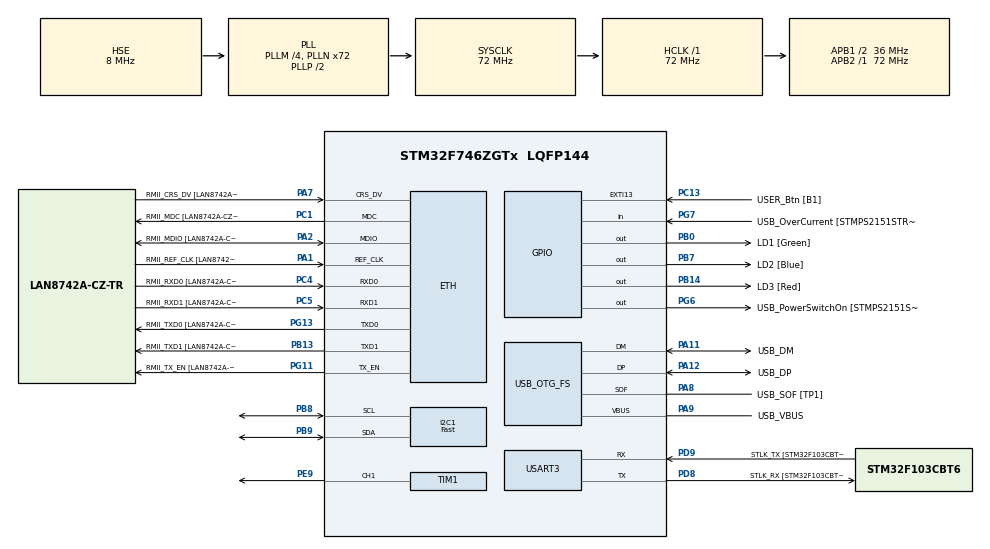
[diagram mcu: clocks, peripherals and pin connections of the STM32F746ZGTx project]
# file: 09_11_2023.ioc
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ETH.MediaInterface=HAL_ETH_RMII_MODE
ETH.PHY_Name=LAN8742A_PHY_ADDRESS
ETH.PHY_Value=0
ETH.PhyAddress=0
I2C1.I2C_Speed_Mode=I2C_Fast
I2C1.Speed=100
I2C1.Timing=0x00305FFF
Mcu.Family=STM32F7
Mcu.Name=STM32F746ZGTx
Mcu.Package=LQFP144
NVIC.PriorityGroup=NVIC_PRIORITYGROUP_4
NVIC.TIM2_IRQn=true\:0\:0\:false\:false\:true\:true\:true\:true
NVIC.TIM3_IRQn=true\:0\:0\:false\:false\:true\:true\:true\:true
NVIC.USART3_IRQn=true\:0\:0\:false\:false\:true\:true\:true\:true
PA1.GPIO_Label=RMII_REF_CLK [LAN8742A-CZ-TR_REFCLK0]
PA1.Mode=RMII
PA1.Signal=ETH_REF_CLK
PA10.GPIO_Label=USB_ID
PA10.Signal=USB_OTG_FS_ID
PA11.GPIO_Label=USB_DM
PA11.Mode=Device_Only
PA11.Signal=USB_OTG_FS_DM
PA12.GPIO_Label=USB_DP
PA12.Mode=Device_Only
PA12.Signal=USB_OTG_FS_DP
PA13.GPIO_Label=TMS
PA13.Mode=Serial_Wire
PA13.Signal=SYS_JTMS-SWDIO
PA14.GPIO_Label=TCK
PA14.Mode=Serial_Wire
PA14.Signal=SYS_JTCK-SWCLK
PA2.GPIO_Label=RMII_MDIO [LAN8742A-CZ-TR_MDIO]
PA2.Mode=RMII
PA2.Signal=ETH_MDIO
PA7.GPIO_Label=RMII_CRS_DV [LAN8742A-CZ-TR_CRS_DV]
PA7.Mode=RMII
PA7.Signal=ETH_CRS_DV
PA8.GPIO_Label=USB_SOF [TP1]
PA8.Mode=Activate_SOF_FS
PA8.Signal=USB_OTG_FS_SOF
PA9.GPIO_Label=USB_VBUS
PA9.Mode=Activate_VBUS
PA9.Signal=USB_OTG_FS_VBUS
PB0.GPIO_Label=LD1 [Green]
PB0.Signal=GPIO_Output
PB13.GPIO_Label=RMII_TXD1 [LAN8742A-CZ-TR_TXD1]
PB13.Mode=RMII
PB13.Signal=ETH_TXD1
PB14.GPIO_Label=LD3 [Red]
PB14.Signal=GPIO_Output
PB3.GPIO_Label=SW0
PB3.Signal=SYS_JTDO-SWO
PB7.GPIO_Label=LD2 [Blue]
PB7.Signal=GPIO_Output
PB8.GPIO_Pu=GPIO_PULLUP
PB8.Mode=I2C
PB8.Signal=I2C1_SCL
PB9.GPIO_Pu=GPIO_PULLUP
PB9.Mode=I2C
PB9.Signal=I2C1_SDA
PC1.GPIO_Label=RMII_MDC [LAN8742A-CZ-TR_MDC]
PC1.Mode=RMII
PC1.Signal=ETH_MDC
PC13.GPIO_Label=USER_Btn [B1]
PC13.Signal=GPXTI13
PC14/OSC32_IN.Mode=LSE-External-Oscillator
PC14/OSC32_IN.Signal=RCC_OSC32_IN
PC15/OSC32_OUT.Mode=LSE-External-Oscillator
PC15/OSC32_OUT.Signal=RCC_OSC32_OUT
PC4.GPIO_Label=RMII_RXD0 [LAN8742A-CZ-TR_RXD0]
PC4.Mode=RMII
PC4.Signal=ETH_RXD0
PC5.GPIO_Label=RMII_RXD1 [LAN8742A-CZ-TR_RXD1]
PC5.Mode=RMII
PC5.Signal=ETH_RXD1
PD8.GPIO_Label=STLK_RX [STM32F103CBT6_PA3]
PD8.GPIO_PuPd=GPIO_PULLUP
PD8.Mode=Asynchronous
PD8.Signal=USART3_TX
PD9.GPIO_Label=STLK_TX [STM32F103CBT6_PA2]
PD9.GPIO_PuPd=GPIO_PULLUP
PD9.Mode=Asynchronous
PD9.Signal=USART3_RX
PE9.Signal=S_TIM1_CH1
PG11.GPIO_Label=RMII_TX_EN [LAN8742A-CZ-TR_TXEN]
PG11.Mode=RMII
PG11.Signal=ETH_TX_EN
PG13.GPIO_Label=RMII_TXD0 [LAN8742A-CZ-TR_TXD0]
PG13.Mode=RMII
PG13.Signal=ETH_TXD0
PG6.GPIO_Label=USB_PowerSwitchOn [STMPS2151STR_EN]
PG6.Signal=GPIO_Output
PG7.GPIO_Label=USB_OverCurrent [STMPS2151STR_FAULT]
PG7.Signal=GPIO_Input
PH0/OSC_IN.GPIO_Label=MCO [STM32F103CBT6_PA8]
PH0/OSC_IN.Mode=HSE-External-Clock-Source
PH0/OSC_IN.Signal=RCC_OSC_IN
PH1/OSC_OUT.Mode=HSE-External-Clock-Source
PH1/OSC_OUT.Signal=RCC_OSC_OUT
ProjectManager.HeapSize=0x200
ProjectManager.StackSize=0x400
ProjectManager.TargetToolchain=STM32CubeIDE
RCC.48MHZClocksFreq_Value=24000000
RCC.AHBFreq_Value=72000000
RCC.APB1CLKDivider=RCC_HCLK_DIV2
RCC.APB1Freq_Value=36000000
RCC.APB1TimFreq_Value=72000000
RCC.APB2Freq_Value=72000000
RCC.APB2TimFreq_Value=72000000
RCC.CortexFreq_Value=72000000
RCC.HCLKFreq_Value=72000000
RCC.HSE_VALUE=8000000
RCC.HSI_VALUE=16000000
RCC.PLLM=4
RCC.PLLMUL=RCC_PLL_MUL9
RCC.PLLN=72
RCC.PLLQ=3
RCC.PRESCALERUSB=RCC_USBCLKSOURCE_PLL_DIV1_5
RCC.SYSCLKFreq_VALUE=72000000
RCC.SYSCLKSource=RCC_SYSCLKSOURCE_PLLCLK
RCC.SYSCLKSourceVirtual=RCC_SYSCLKSOURCE_PLLCLK
RCC.USBFreq_Value=48000000
RCC.VCOOutputFreq_Value=144000000
SH.S_TIM1_CH1.0=TIM1_CH1,PWM Generation1 CH1
TIM1.Channel-PWM\ Generation1\ CH1=TIM_CHANNEL_1
TIM1.Period=1000
TIM1.Prescaler=72 - 1
TIM2.Period=2000 - 1
TIM2.Prescaler=7200-1
TIM3.Period=5000  -1
TIM3.Prescaler=7200 - 1
USART3.VirtualMode-Asynchronous=VM_ASYNC
USB_OTG_FS.VirtualMode=Device_Only
VP_TIM1_VS_ClockSourceINT.Mode=Internal
VP_TIM2_VS_ClockSourceINT.Mode=Internal
VP_TIM3_VS_ClockSourceINT.Mode=Internal
board=NUCLEO-F746ZG

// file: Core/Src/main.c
/* USER CODE BEGIN Header */
/**
  ******************************************************************************
  * @file           : main.c
  * @brief          : Main program body
  ******************************************************************************
  * @attention
  *
  * Copyright (c) 2023 STMicroelectronics.
  * All rights reserved.
  *
  * This software is licensed under terms that can be found in the LICENSE file
  * in the root directory of this software component.
  * If no LICENSE file comes with this software, it is provided AS-IS.
  *
  ******************************************************************************
  */
/* USER CODE END Header */
#include "main.h"
#include "eth.h"
#include "i2c.h"
#include "tim.h"
#include "usart.h"
#include "usb_otg.h"
#include "gpio.h"

/* USER CODE BEGIN Includes */
#include "BH1750.h"
#include "string.h"
#include "stdlib.h"
/* USER CODE END Includes */

/* USER CODE BEGIN PV */
char cmd[] = "1234";
/* USER CODE END PV */

void SystemClock_Config(void);
/* USER CODE BEGIN PFP */
void setRedFill(uint8_t fill);
void pwmStartAll();
/* USER CODE END PFP */

/* USER CODE BEGIN 0 */
float mes = 0.0;
/* USER CODE END 0 */

int main(void)
{

  /* MCU Configuration--------------------------------------------------------*/

  /* Reset of all peripherals, Initializes the Flash interface and the Systick. */
  HAL_Init();

  /* Configure the system clock */
  SystemClock_Config();

  /* Initialize all configured peripherals */
  MX_GPIO_Init();
  MX_ETH_Init();
  MX_USART3_UART_Init();
  MX_USB_OTG_FS_PCD_Init();
  MX_I2C1_Init();
  MX_TIM2_Init();
  MX_TIM1_Init();
  MX_TIM3_Init();
  /* USER CODE BEGIN 2 */
  //HAL_I2C_Init(&hi2c1);
  bh1750Init(&hi2c1);
  setRedFill(50);
  HAL_TIM_Base_Start(&htim1);
  HAL_TIM_Base_Start_IT(&htim2);
  //HAL_TIM_Base_Start_IT(&htim3);
  pwmStartAll();
  HAL_UART_Receive_IT(&huart3, cmd, strlen(cmd));
  /* USER CODE END 2 */

  /* Infinite loop */
  while (1)
  {

  }
}

void SystemClock_Config(void)
{
  RCC_OscInitTypeDef RCC_OscInitStruct = {0};
  RCC_ClkInitTypeDef RCC_ClkInitStruct = {0};

  /** Configure LSE Drive Capability
  */
  HAL_PWR_EnableBkUpAccess();

  /** Configure the main internal regulator output voltage
  */
  __HAL_RCC_PWR_CLK_ENABLE();
  __HAL_PWR_VOLTAGESCALING_CONFIG(PWR_REGULATOR_VOLTAGE_SCALE3);

  /** Initializes the RCC Oscillators according to the specified parameters
  * in the RCC_OscInitTypeDef structure.
  */
  RCC_OscInitStruct.OscillatorType = RCC_OSCILLATORTYPE_HSE;
  RCC_OscInitStruct.HSEState = RCC_HSE_BYPASS;
  RCC_OscInitStruct.PLL.PLLState = RCC_PLL_ON;
  RCC_OscInitStruct.PLL.PLLSource = RCC_PLLSOURCE_HSE;
  RCC_OscInitStruct.PLL.PLLM = 4;
  RCC_OscInitStruct.PLL.PLLN = 72;
  RCC_OscInitStruct.PLL.PLLP = RCC_PLLP_DIV2;
  RCC_OscInitStruct.PLL.PLLQ = 3;
  if (HAL_RCC_OscConfig(&RCC_OscInitStruct) != HAL_OK)
  {
    Error_Handler();
  }

  /** Initializes the CPU, AHB and APB buses clocks
  */
  RCC_ClkInitStruct.ClockType = RCC_CLOCKTYPE_HCLK|RCC_CLOCKTYPE_SYSCLK
                              |RCC_CLOCKTYPE_PCLK1|RCC_CLOCKTYPE_PCLK2;
  RCC_ClkInitStruct.SYSCLKSource = RCC_SYSCLKSOURCE_PLLCLK;
  RCC_ClkInitStruct.AHBCLKDivider = RCC_SYSCLK_DIV1;
  RCC_ClkInitStruct.APB1CLKDivider = RCC_HCLK_DIV2;
  RCC_ClkInitStruct.APB2CLKDivider = RCC_HCLK_DIV1;

  if (HAL_RCC_ClockConfig(&RCC_ClkInitStruct, FLASH_LATENCY_2) != HAL_OK)
  {
    Error_Handler();
  }
}

/* USER CODE BEGIN 4 */
void setRedFill(uint8_t fill)
{
	if (fill > 100) fill = 100;
	__HAL_TIM_SET_COMPARE(&htim1, TIM_CHANNEL_1, fill * 10);
}

void pwmStartAll()
{
	HAL_TIM_PWM_Start(&htim1, TIM_CHANNEL_1);
}

static uint8_t r = 0;

void HAL_TIM_PeriodElapsedCallback(TIM_HandleTypeDef *htim)
{
	if(htim == &htim2)
	{
		mes = bh1750GetMes(&hi2c1);
		uint32_t temp = (uint32_t)(mes);
		char msg[64];
		itoa(temp, msg, 10);
#if 0
		HAL_UART_Transmit(&huart3, msg, strlen(msg), 100);
#else
		sprintf(msg, "%i; %i\n\r", temp, r);
		HAL_UART_Transmit(&huart3, msg, strlen(msg), 100);
#endif
	}
	if(htim == &htim3)
	{
		r += 10;
		if(r > 100) r = 0;
		setRedFill(r);
	}
}

void HAL_UART_RxCpltCallback(UART_HandleTypeDef *huart)
{
	if(huart == &huart3)
	{
		// patrz dokumentacja atoi
		uint8_t fill = atoi(&cmd[1]); //R050 -> 50
		switch(cmd[0])
		{
			case 'r':
				setRedFill(fill);
				break;
			default:
			{
				char msg[] = "err";
				HAL_UART_Transmit(&huart3, msg, strlen(msg), 100);
			} break;
		}
		HAL_UART_Receive_IT(&huart3, cmd, strlen(cmd));

	}
}
/* USER CODE END 4 */

void Error_Handler(void)
{
  __disable_irq();
  while (1)
  {
  }
}
